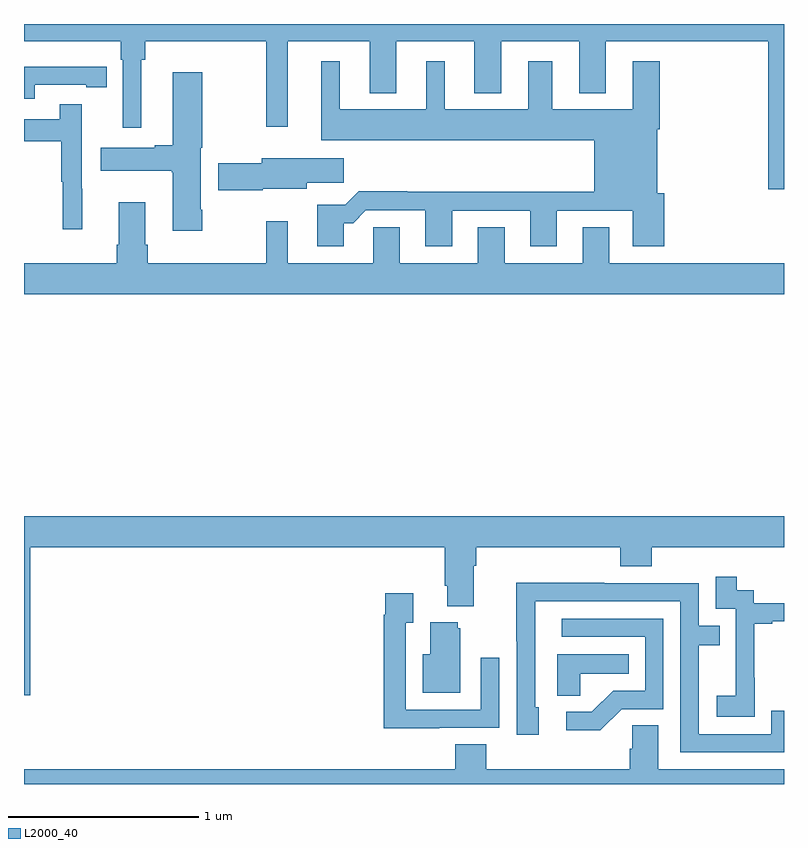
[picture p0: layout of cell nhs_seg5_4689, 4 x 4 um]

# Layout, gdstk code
import gdstk
lib = gdstk.Library(unit=1e-6, precision=1e-09)
def P(c, l, *ps):  # polygons
    for p in ps: c.add(gdstk.Polygon(p, *l))
L2000_40 = (2000, 40)

nhs_seg5_4689 = lib.new_cell('nhs_seg5_4689')
P(nhs_seg5_4689, L2000_40, [(389,908.799),(385,908.799),(385,908.708),(385.508,908.708),(385.508,908.612),(385.521,908.612),(385.521,908.253),(385.618,908.253),(385.618,908.612),(385.637,908.612),(385.637,908.708),(386.275,908.708),(386.275,908.259),(386.389,908.259),(386.389,908.708),(386.819,908.708),(386.819,908.435),(386.959,908.435),(386.959,908.708),(387.371,908.708),(387.371,908.435),(387.511,908.435),(387.511,908.708),(387.923,908.708),(387.923,908.435),(388.063,908.435),(388.063,908.708),(388.916,908.708),(388.916,907.929),(389,907.929)],
  [(386.683,907.751),(386.732,907.751),(386.799,907.818),(387.113,907.818),(387.113,907.629),(387.253,907.629),(387.253,907.815),(387.665,907.815),(387.665,907.629),(387.805,907.629),(387.805,907.815),(388.205,907.815),(388.205,907.629),(388.37,907.629),(388.37,907.908),(388.333,907.908),(388.333,908.246),(388.346,908.246),(388.346,908.602),(388.205,908.602),(388.205,908.35),(387.781,908.35),(387.781,908.602),(387.653,908.602),(387.653,908.35),(387.214,908.35),(387.214,908.602),(387.116,908.602),(387.116,908.35),(386.662,908.35),(386.662,908.602),(386.564,908.602),(386.564,908.186),(388.001,908.186),(388.001,907.916),(387.017,907.916),(387.017,907.919),(386.762,907.919),(386.692,907.849),(386.543,907.849),(386.543,907.629),(386.683,907.629)],
  [(385.056,908.478),(385.328,908.478),(385.328,908.466),(385.436,908.466),(385.436,908.574),(385.328,908.574),(385.328,908.575),(385,908.575),(385,908.406),(385.056,908.406)],
  [(385.938,907.822),(385.93,907.822),(385.93,908.149),(385.938,908.149),(385.938,908.545),(385.784,908.545),(385.784,908.162),(385.688,908.162),(385.688,908.149),(385.404,908.149),(385.404,908.027),(385.777,908.027),(385.777,908.02),(385.784,908.02),(385.784,907.71),(385.938,907.71)],
  [(385.307,907.931),(385.305,907.931),(385.305,908.377),(385.189,908.377),(385.189,908.298),(385,908.298),(385,908.182),(385.197,908.182),(385.197,907.968),(385.204,907.968),(385.204,907.719),(385.307,907.719)],
  [(386.256,907.931),(386.488,907.931),(386.488,907.963),(386.683,907.963),(386.683,908.092),(386.252,908.092),(386.252,908.066),(386.022,908.066),(386.022,907.924),(386.256,907.924)],
  [(389,907.54),(388.081,907.54),(388.081,907.73),(387.941,907.73),(387.941,907.54),(387.529,907.54),(387.529,907.73),(387.389,907.73),(387.389,907.54),(386.977,907.54),(386.977,907.73),(386.838,907.73),(386.838,907.54),(386.389,907.54),(386.389,907.762),(386.275,907.762),(386.275,907.54),(385.652,907.54),(385.652,907.636),(385.639,907.636),(385.639,907.861),(385.499,907.861),(385.499,907.636),(385.487,907.636),(385.487,907.54),(385,907.54),(385,907.376),(389,907.376)],
  [(385.034,906.044),(387.215,906.044),(387.215,905.842),(387.227,905.842),(387.227,905.735),(387.367,905.735),(387.367,905.948),(387.38,905.948),(387.38,906.044),(388.139,906.044),(388.139,905.945),(388.304,905.945),(388.304,906.044),(389,906.044),(389,906.208),(385,906.208),(385,905.265),(385.034,905.265)],
  [(388.845,905.359),(388.844,905.359),(388.844,905.643),(388.939,905.643),(388.939,905.655),(389,905.655),(389,905.751),(388.842,905.751),(388.842,905.82),(388.75,905.82),(388.75,905.89),(388.641,905.89),(388.641,905.721),(388.746,905.721),(388.746,905.492),(388.745,905.492),(388.745,905.263),(388.647,905.263),(388.647,905.153),(388.845,905.153)],
  [(389,905.184),(388.932,905.184),(388.932,905.061),(388.551,905.061),(388.551,905.53),(388.661,905.53),(388.661,905.631),(388.551,905.631),(388.551,905.856),(388.055,905.856),(388.055,905.858),(387.592,905.858),(387.592,905.551),(387.594,905.551),(387.594,905.058),(387.709,905.058),(387.709,905.202),(387.69,905.202),(387.69,905.76),(388.455,905.76),(388.455,904.965),(389,904.965)],
  [(387.185,905.094),(387.501,905.094),(387.501,905.464),(387.405,905.464),(387.405,905.19),(387.009,905.19),(387.009,905.647),(387.049,905.647),(387.049,905.803),(386.901,905.803),(386.901,905.69),(386.893,905.69),(386.893,905.093),(387.185,905.093)],
  [(388.146,905.193),(388.365,905.193),(388.365,905.67),(387.831,905.67),(387.831,905.574),(388.269,905.574),(388.269,905.289),(388.1,905.289),(387.989,905.178),(387.855,905.178),(387.855,905.081),(388.033,905.081)],
  [(387.295,905.619),(387.284,905.619),(387.284,905.65),(387.137,905.65),(387.137,905.482),(387.098,905.482),(387.098,905.279),(387.295,905.279)],
  [(387.927,905.378),(388.184,905.378),(388.184,905.482),(387.806,905.482),(387.806,905.263),(387.927,905.263)],
  [(389,904.876),(388.339,904.876),(388.339,905.108),(388.2,905.108),(388.2,904.985),(388.187,904.985),(388.187,904.876),(387.434,904.876),(387.434,905.009),(387.269,905.009),(387.269,904.876),(385,904.876),(385,904.799),(389,904.799)])

lib.write_gds('nhs_seg5_4689.gds')
